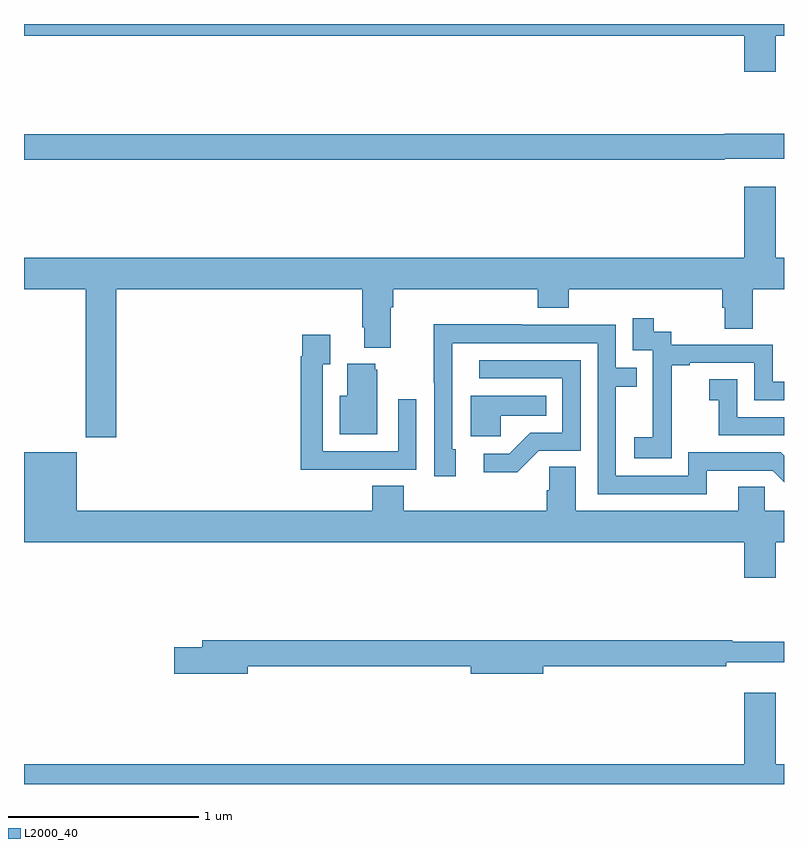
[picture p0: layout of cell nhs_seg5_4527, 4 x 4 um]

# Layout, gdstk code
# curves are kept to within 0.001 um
import gdstk
lib = gdstk.Library(unit=1e-6, precision=1e-09)
def P(c, l, *ps):  # polygons
    for p in ps: c.add(gdstk.Polygon(p, *l))
L2000_40 = (2000, 40)

nhs_seg5_4527 = lib.new_cell('nhs_seg5_4527')
P(nhs_seg5_4527, L2000_40, [(380.956,880.736),(381,880.736),(381,880.799),(377,880.799),(377,880.736),(380.792,880.736),(380.792,880.548),(380.956,880.548)],
  [(380.688,880.091),(381,880.091),(381,880.221),(380.688,880.221),(380.688,880.22),(377,880.22),(377,880.084),(380.688,880.084)],
  [(377.486,879.404),(378.779,879.404),(378.779,879.202),(378.791,879.202),(378.791,879.095),(378.931,879.095),(378.931,879.308),(378.944,879.308),(378.944,879.404),(379.703,879.404),(379.703,879.305),(379.868,879.305),(379.868,879.404),(380.675,879.404),(380.675,879.306),(380.687,879.306),(380.687,879.196),(380.835,879.196),(380.835,879.404),(381,879.404),(381,879.568),(380.956,879.568),(380.956,879.943),(380.792,879.943),(380.792,879.568),(377,879.568),(377,879.404),(377.326,879.404),(377.326,878.625),(377.486,878.625)],
  [(380.409,878.719),(380.408,878.719),(380.408,879.003),(380.503,879.003),(380.503,879.015),(380.844,879.015),(380.844,878.82),(381,878.82),(381,878.916),(380.94,878.916),(380.94,879.111),(380.406,879.111),(380.406,879.18),(380.314,879.18),(380.314,879.25),(380.205,879.25),(380.205,879.081),(380.31,879.081),(380.31,878.852),(380.309,878.852),(380.309,878.623),(380.211,878.623),(380.211,878.513),(380.409,878.513)],
  [(380.593,878.448),(380.94,878.448),(381,878.388),(381,878.526),(380.982,878.544),(380.496,878.544),(380.496,878.421),(380.115,878.421),(380.115,878.89),(380.225,878.89),(380.225,878.991),(380.115,878.991),(380.115,879.216),(379.619,879.216),(379.619,879.218),(379.156,879.218),(379.156,878.911),(379.158,878.911),(379.158,878.418),(379.273,878.418),(379.273,878.562),(379.254,878.562),(379.255,879.12),(380.019,879.12),(380.019,878.325),(380.593,878.325)],
  [(378.749,878.454),(379.065,878.454),(379.065,878.824),(378.969,878.824),(378.969,878.55),(378.573,878.55),(378.573,879.007),(378.613,879.007),(378.613,879.163),(378.465,879.163),(378.465,879.05),(378.457,879.05),(378.457,878.453),(378.749,878.453)],
  [(379.71,878.553),(379.929,878.553),(379.929,879.03),(379.395,879.03),(379.395,878.934),(379.833,878.934),(379.833,878.649),(379.664,878.649),(379.553,878.538),(379.419,878.538),(379.419,878.441),(379.597,878.441)],
  [(378.859,878.979),(378.848,878.979),(378.848,879.01),(378.701,879.01),(378.701,878.842),(378.662,878.842),(378.662,878.639),(378.859,878.639)],
  [(381,878.73),(380.754,878.73),(380.754,878.929),(380.607,878.929),(380.607,878.819),(380.656,878.819),(380.656,878.634),(381,878.634)],
  [(379.509,878.738),(379.748,878.738),(379.748,878.842),(379.352,878.842),(379.352,878.63),(379.509,878.63)],
  [(380.956,878.072),(381,878.072),(381,878.236),(380.898,878.236),(380.898,878.363),(380.759,878.363),(380.759,878.236),(379.903,878.236),(379.903,878.468),(379.764,878.468),(379.764,878.345),(379.751,878.345),(379.751,878.236),(378.998,878.236),(378.998,878.369),(378.833,878.369),(378.833,878.236),(377.278,878.236),(377.278,878.545),(377,878.545),(377,878.072),(380.792,878.072),(380.792,877.884),(380.956,877.884)],
  [(378.178,877.42),(379.352,877.42),(379.352,877.378),(379.732,877.378),(379.732,877.42),(380.696,877.42),(380.696,877.439),(381,877.439),(381,877.549),(380.728,877.549),(380.728,877.556),(377.939,877.556),(377.939,877.52),(377.79,877.52),(377.79,877.378),(378.178,877.378)],
  [(377,876.799),(381,876.799),(381,876.904),(380.956,876.904),(380.956,877.279),(380.792,877.279),(380.792,876.904),(377,876.904)])

lib.write_gds('nhs_seg5_4527.gds')
